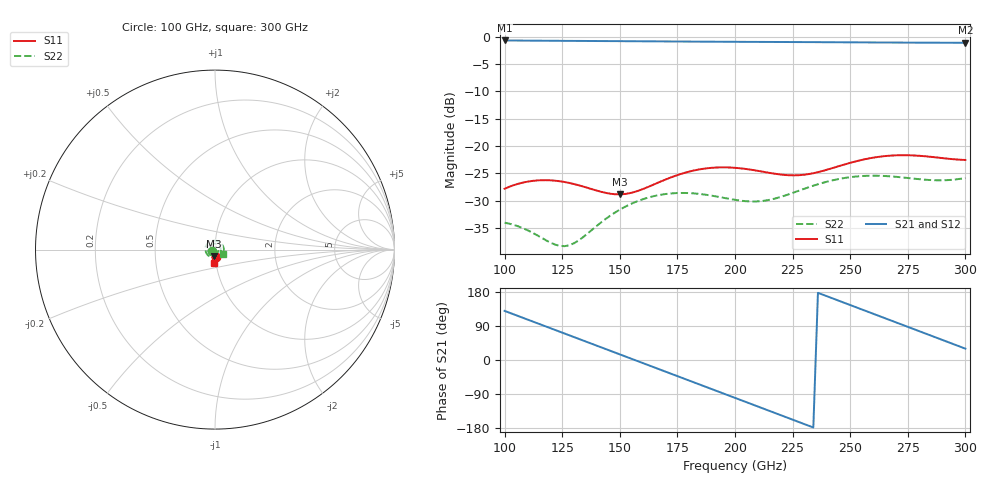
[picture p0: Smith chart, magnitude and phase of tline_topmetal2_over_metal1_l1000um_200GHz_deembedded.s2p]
! Created with skrf 2.0.1 (http://scikit-rf.org).
# GHz S DB R 50.0
!freq dBS11 angS11 dBS21 angS21 dBS12 angS12 dBS22 angS22
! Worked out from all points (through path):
!   101 points, 100 GHz to 300 GHz, reference 50 ohm
!   highest |S21| = -0.71 dB at 100 GHz (marker M1); lowest = -1.1 dB at 300 GHz (marker M2)
!   group delay of S21, straight-line fit = 6.38 ps
!   lowest |S11| = -28.8 dB at 150 GHz (marker M3), VSWR 1.08, Z = 49.3 - j3.53 ohm
!   |S11| at or under -10 dB: start of sweep to end of sweep
!   |S22| runs from -38.3 to -25.4 dB; largest |S21 - S12| = 1.1e-14
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100  -27.81 -82.0  -0.71 129.6  -0.71 129.6  -34.02 -152.8
108  -26.68 -90.0  -0.73 111.2  -0.73 111.2  -35.02 176.2
116  -26.25 -98.2  -0.75 92.9  -0.75 92.9  -36.76 137.4
126  -26.58 -106.5  -0.78 69.9  -0.78 69.9  -38.30 70.3
134  -27.39 -109.5  -0.80 51.6  -0.80 51.6  -36.67 13.0
150  -28.84 -98.6  -0.84 14.9  -0.84 14.9  -31.63 -67.5
158  -28.18 -89.2  -0.86 -3.5  -0.86 -3.5  -30.02 -99.6
168  -26.45 -84.3  -0.88 -26.5  -0.88 -26.5  -28.89 -137.9
184  -24.31 -90.0  -0.92 -63.2  -0.92 -63.2  -28.73 158.8
192  -23.93 -95.0  -0.94 -81.6  -0.94 -81.6  -29.23 123.8
200  -23.98 -99.4  -0.95 -99.9  -0.95 -99.9  -29.84 85.0
208  -24.40 -101.8  -0.97 -118.3  -0.97 -118.3  -30.14 42.2
218  -25.11 -100.1  -0.99 -141.3  -0.99 -141.3  -29.53 -13.0
226  -25.36 -94.9  -1.00 -159.7  -1.00 -159.7  -28.42 -54.2
234  -24.97 -88.7  -1.02 -178.1  -1.02 -178.1  -27.25 -91.6
242  -24.07 -84.9  -1.03 163.4  -1.03 163.4  -26.30 -126.3
250  -23.08 -84.5  -1.05 145.0  -1.05 145.0  -25.69 -159.5
260  -22.13 -87.5  -1.07 122.0  -1.07 122.0  -25.43 159.1
268  -21.74 -91.1  -1.09 103.6  -1.09 103.6  -25.56 125.0
276  -21.70 -94.5  -1.10 85.2  -1.10 85.2  -25.89 88.8
284  -21.93 -96.6  -1.11 66.8  -1.11 66.8  -26.20 50.1
300  -22.55 -93.8  -1.13 29.9  -1.13 29.9  -25.84 -31.8
